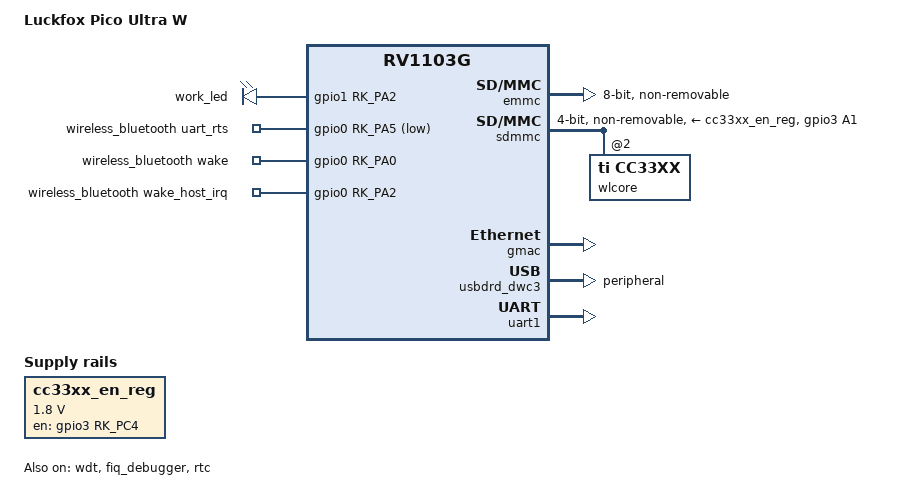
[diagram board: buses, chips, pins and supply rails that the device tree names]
// SPDX-License-Identifier: (GPL-2.0+ OR MIT)
/*
 * Copyright (c) 2022 Rockchip Electronics Co., Ltd.
 */

/dts-v1/;
#include "rv1106.dtsi"
#include "rv1106-luckfox-pico-ultra-ipc.dtsi"
#include <dt-bindings/input/input.h>
#include <dt-bindings/display/media-bus-format.h>

/ {
	model = "Luckfox Pico Ultra W";
	compatible = "rockchip,rv1103g-38x38-ipc-v10", "rockchip,rv1106g3";

	restart-poweroff {
		compatible = "restart-poweroff";
	};

	leds: leds {
                compatible = "gpio-leds";
                work_led: work{
                        gpios = <&gpio1 RK_PA2 GPIO_ACTIVE_HIGH>;
                        linux,default-trigger = "activity";
                        default-state = "on";
                };
        };

		cc33xx_en_reg: fixedregulator@1 {
            compatible = "regulator-fixed";
            regulator-name = "cc33xx-en-regulator";
            regulator-min-microvolt = <1800000>;
            regulator-max-microvolt = <1800000>;
            startup-delay-us = <1000>;  /* HW init grace period */
            gpio = <&gpio3 RK_PC4 0>;
            enable-active-high;
            regulator-always-on; /* Keeps the  reset pin de-asserted (high) if regulator is not in use */
			status = "okay";
	    };

/*
	sdio_pwrseq: sdio-pwrseq {
				compatible = "mmc-pwrseq-simple";
				pinctrl-names = "default";
				//reset-gpios = <&gpio0 RK_PA3 GPIO_ACTIVE_LOW>;
				reset-gpios = <&gpio3 RK_PC4 GPIO_ACTIVE_LOW>;
		};
*/

	wireless_bluetooth: wireless-bluetooth {
	compatible = "bluetooth-platdata";
	uart_rts_gpios = <&gpio0 RK_PA5 GPIO_ACTIVE_LOW>;
	pinctrl-names = "default", "rts_gpio";
	pinctrl-0 = <&uart1m0_rtsn>;
	pinctrl-1 = <&uart1_gpios>;
	BT,wake_gpio     = <&gpio0 RK_PA0 GPIO_ACTIVE_HIGH>;
	BT,wake_host_irq = <&gpio0 RK_PA2 GPIO_ACTIVE_HIGH>;
	status = "okay";
	};
};


/**********CRU**********/
//&cru {
//	assigned-clocks =
//		<&cru PLL_GPLL>, <&cru PLL_CPLL>,
//		<&cru ARMCLK>,
//		<&cru ACLK_PERI_ROOT>, <&cru HCLK_PERI_ROOT>,
//		<&cru PCLK_PERI_ROOT>, <&cru ACLK_BUS_ROOT>,
//		<&cru PCLK_TOP_ROOT>, <&cru PCLK_PMU_ROOT>,
//		<&cru HCLK_PMU_ROOT>, <&cru CLK_500M_SRC>;
//	assigned-clock-rates =
//		<1188000000>, <700000000>,
//		<1104000000>,
//		<400000000>, <200000000>,
//		<100000000>, <300000000>,
//		<100000000>, <100000000>,
//		<200000000>, <700000000>;
//};

/**********NPU**********/
//&npu {
//	assigned-clock-rates = <700000000>;
//};

&wdt{
	status = "okay";
};

/**********EMMC**********/
&emmc {
	bus-width = <8>;
	cap-mmc-highspeed;
	non-removable;
	mmc-hs200-1_8v;
	rockchip,default-sample-phase = <90>;
	no-sdio;
	no-sd;
	memory-region-ecsd = <&mmc_ecsd>;
	post-power-on-delay-ms = <0>;
	status = "okay";
};

&fiq_debugger {
	rockchip,irq-mode-enable = <1>;
	status = "okay";
};

/**********SDIO-WIFI**********/
&sdmmc {
	max-frequency = <50000000>;
	vmmc-supply = <&cc33xx_en_reg>;
	bus-width = <4>;
	cap-sd-highspeed;
	cap-sdio-irq;
	keep-power-in-suspend;
	non-removable;
	rockchip,default-sample-phase = <90>;
	// no-sd;
	// no-mmc;
	supports-sdio;
	//mmc-pwrseq = <&sdio_pwrseq>;
	pinctrl-names = "default";
	pinctrl-0 = <&sdmmc0_clk &sdmmc0_cmd &sdmmc0_bus4 &sdmmc0_det>;
	status = "okay";
	wlcore: wlcore@0 {
               compatible = "ti,cc33xx";
               reg = <2>;
               //interrupt-parent = <&gpio0>;
               //interrupts = <7 IRQ_TYPE_LEVEL_HIGH>;
               //irq-gpio = <&gpio3 22 GPIO_ACTIVE_HIGH>;
     };
};

&pinctrl{
	sdmmc0{
		sdmmc0_det: sdmmc0-det {
			rockchip,pins =
				/* sdmmc0_det */
				<3 RK_PA1 1 &pcfg_pull_down>;
		};
  };
};


/**********ETH**********/
&gmac {
	status = "okay";
};

/**********USB**********/
&usbdrd_dwc3 {
	status = "okay";
	dr_mode = "peripheral";
  //dr_mode = "host";
};

/**********RTC**********/
&rtc {
	status = "okay";
};

/**********BT**********/
/*
&uart1 {
	pinctrl-names = "default";
	pinctrl-0 = <&uart1m0_xfer &uart1m0_ctsn &uart1m0_rtsn>;
	uart-has-rtscts;
	status = "okay";
};
*/
/**********BT**********/
&uart1 {
        status = "okay";
        pinctrl-names = "default";
        pinctrl-0 = <&uart1m0_xfer &uart1m0_ctsn>;
};

&pinctrl {
  wireless-bluetooth {
    uart1_gpios: uart1-gpios {
      rockchip,pins = <0 RK_PA5 RK_FUNC_GPIO &pcfg_pull_none>;
    };
  };
};

/**********SPI**********/
&spi0 {
	status = "disabled";
};

&panel{
	status = "disabled";
};

&backlight{
	status = "disabled";
};

&csi2_dphy_hw {
	status = "disabled";
};

&csi2_dphy0 {
	status = "disabled";
};

&i2c4 {
	status = "disabled";
};

&mipi0_csi2 {
	status = "disabled";
};

&rkcif_mipi_lvds {
	status = "disabled";
};

&rkcif_mipi_lvds_sditf {
	status = "disabled";
};

&rkisp {
	status = "disabled";
};

&rkisp_vir0 {
	status = "disabled";
};

&pwm1 {
	status = "disabled";
};

&display_subsystem {
	status = "disabled";
};

&rgb {
	status = "disabled";
};

&rgb_in_vop {
	status = "disabled";
};

&route_rgb {
	status = "disabled";
};

&vop {
	status = "disabled";
};

&i2c3 { 
	status = "disabled";
};

&csi2_dphy_hw {
	status = "disabled";
};

&csi2_dphy0 {
	status = "disabled";
};

&mipi0_csi2 {
	status = "disabled";
};
